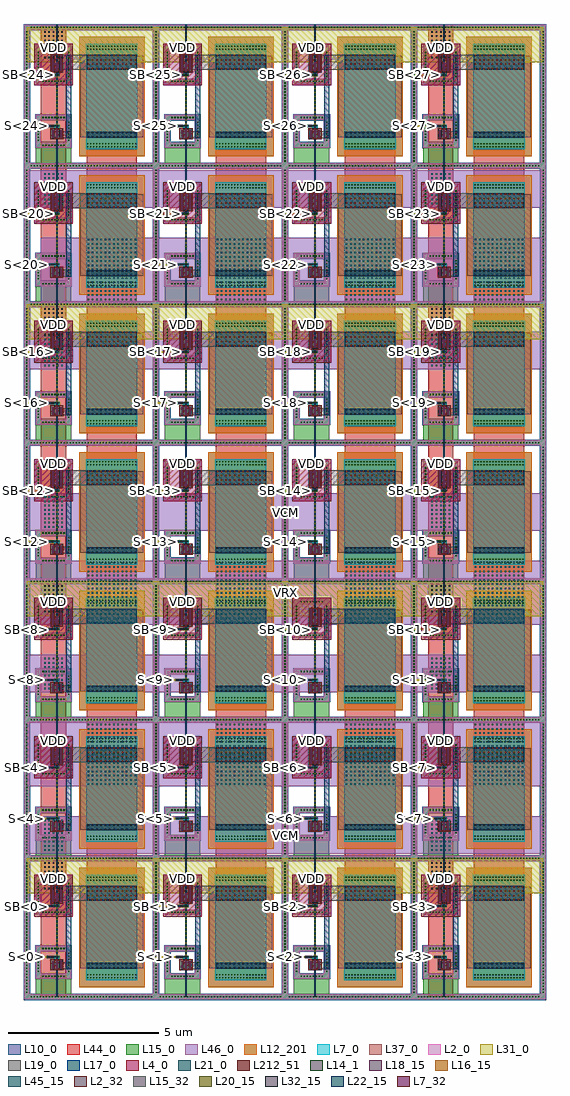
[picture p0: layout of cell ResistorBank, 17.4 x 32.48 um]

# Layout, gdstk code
import gdstk
lib = gdstk.Library(unit=1e-6, precision=1e-09)
def R(c, l, rs):  # rectangles x0, y0, x1, y1
    for r in rs: c.add(gdstk.rectangle(r[:2], r[2:], *l))
def A(c, l, x, y, w, h, nx, ny, dx, dy):  # array of equal rectangles
    R(c, l, [(x+i*dx, y+j*dy, x+i*dx+w, y+j*dy+h) for i in range(nx) for j in range(ny)])
def P(c, l, *ps):  # polygons
    for p in ps: c.add(gdstk.Polygon(p, *l))
L2_0 = (2, 0)
L2_32 = (2, 32)
L4_0 = (4, 0)
L7_0 = (7, 0)
L7_32 = (7, 32)
L10_0 = (10, 0)
L12_201 = (12, 201)
L14_1 = (14, 1)
L15_0 = (15, 0)
L15_32 = (15, 32)
L16_15 = (16, 15)
L17_0 = (17, 0)
L18_15 = (18, 15)
L19_0 = (19, 0)
L20_15 = (20, 15)
L21_0 = (21, 0)
L22_15 = (22, 15)
L31_0 = (31, 0)
L32_15 = (32, 15)
L37_0 = (37, 0)
L44_0 = (44, 0)
L45_15 = (45, 15)
L46_0 = (46, 0)
L212_51 = (212, 51)

nmosintransmissiongate = lib.new_cell('NMOSInTransmissionGate')
R(nmosintransmissiongate, L2_0, [(-0.162,-0.129,0.162,0.129)])
R(nmosintransmissiongate, L2_32, [(-0.162,-0.129,-0.086,0.129), (0.086,-0.129,0.162,0.129)])
A(nmosintransmissiongate, L7_0, -0.22, -0.186, 0.038, 0.372, 4, 1, 0.134, 0)
R(nmosintransmissiongate, L7_32, [(-0.086,-0.186,-0.048,-0.129), (0.048,-0.186,0.086,-0.129)])
A(nmosintransmissiongate, L14_1, -0.154, -0.07, 0.04, 0.04, 3, 2, 0.134, 0.1)
A(nmosintransmissiongate, L15_0, -0.159, -0.129, 0.05, 0.258, 3, 1, 0.134, 0)
A(nmosintransmissiongate, L15_32, -0.159, -0.129, 0.05, 0.258, 3, 1, 0.134, 0)
R(nmosintransmissiongate, L212_51, [(-0.201,-0.185,0.201,0.185)])

pmosintransmissiongate = lib.new_cell('PMOSInTransmissionGate')
R(pmosintransmissiongate, L2_0, [(-0.162,-0.258,0.162,0.258)])
R(pmosintransmissiongate, L2_32, [(-0.162,-0.258,-0.086,0.258), (0.086,-0.258,0.162,0.258)])
A(pmosintransmissiongate, L7_0, -0.22, -0.315, 0.038, 0.63, 4, 1, 0.134, 0)
R(pmosintransmissiongate, L7_32, [(-0.086,-0.315,-0.048,-0.258), (0.048,-0.315,0.086,-0.258)])
R(pmosintransmissiongate, L10_0, [(-0.218,-0.315,0.218,0.315)])
A(pmosintransmissiongate, L14_1, -0.154, -0.22, 0.04, 0.04, 3, 5, 0.134, 0.1)
A(pmosintransmissiongate, L15_0, -0.159, -0.258, 0.05, 0.516, 3, 1, 0.134, 0)
A(pmosintransmissiongate, L15_32, -0.159, -0.258, 0.05, 0.516, 3, 1, 0.134, 0)
R(pmosintransmissiongate, L212_51, [(-0.201,-0.314,0.201,0.314)])

viamet12met2onpmosoutput = lib.new_cell('ViaMet12Met2OnPMOSOutputInTransmissionGate')
R(viamet12met2onpmosoutput, L15_0, [(-0.025,-0.252,0.025,0.252)])
A(viamet12met2onpmosoutput, L16_15, -0.025, -0.22, 0.05, 0.05, 1, 4, 0, 0.13)
R(viamet12met2onpmosoutput, L17_0, [(-0.025,-0.252,0.025,0.252)])

viamet22met3onpmosoutput = lib.new_cell('ViaMet22Met3OnPMOSOutputInTransmissionGate')
R(viamet22met3onpmosoutput, L17_0, [(-0.025,-0.252,0.025,0.252)])
A(viamet22met3onpmosoutput, L18_15, -0.025, -0.22, 0.05, 0.05, 1, 4, 0, 0.13)
R(viamet22met3onpmosoutput, L19_0, [(-0.025,-0.252,0.025,0.252)])

viamet12met2onnmosoutput = lib.new_cell('ViaMet12Met2OnNMOSOutputInTransmissionGate')
R(viamet12met2onnmosoutput, L15_0, [(-0.025,-0.122,0.025,0.122)])
R(viamet12met2onnmosoutput, L16_15, [(-0.025,-0.09,0.025,-0.04), (-0.025,0.04,0.025,0.09)])
R(viamet12met2onnmosoutput, L17_0, [(-0.025,-0.122,0.025,0.122)])

viamet22met3onnmosoutput = lib.new_cell('ViaMet22Met3OnNMOSOutputInTransmissionGate')
R(viamet22met3onnmosoutput, L17_0, [(-0.025,-0.122,0.025,0.122)])
R(viamet22met3onnmosoutput, L18_15, [(-0.025,-0.09,0.025,-0.04), (-0.025,0.04,0.025,0.09)])
R(viamet22met3onnmosoutput, L19_0, [(-0.025,-0.122,0.025,0.122)])

viapoly2met1onpmoscontro = lib.new_cell('ViaPoly2Met1OnPMOSControlInTransmissionGate')
R(viapoly2met1onpmoscontro, L7_0, [(-0.08,-0.03,0.08,0.03)])
R(viapoly2met1onpmoscontro, L14_1, [(-0.07,-0.02,-0.03,0.02), (0.03,-0.02,0.07,0.02)])
R(viapoly2met1onpmoscontro, L15_0, [(-0.091,-0.041,0.091,0.041)])

viapoly2met1onnmoscontro = lib.new_cell('ViaPoly2Met1OnNMOSControlInTransmissionGate')
R(viapoly2met1onnmoscontro, L7_0, [(-0.08,-0.03,0.08,0.03)])
R(viapoly2met1onnmoscontro, L14_1, [(-0.07,-0.02,-0.03,0.02), (0.03,-0.02,0.07,0.02)])
R(viapoly2met1onnmoscontro, L15_0, [(-0.091,-0.041,0.091,0.041)])

transmissiongateinresist = lib.new_cell('TransmissionGateInResistorBank')
transmissiongateinresist.add(gdstk.FlexPath([(-0.067,0.379),(-0.067,0.674)], 0.038, ends="flush", simple_path=True, layer=7, datatype=0))  # L7_0
transmissiongateinresist.add(gdstk.FlexPath([(0.067,0.379),(0.067,0.674)], 0.038, ends="flush", simple_path=True, layer=7, datatype=0))  # L7_0
transmissiongateinresist.add(gdstk.FlexPath([(-0.067,2.731),(-0.067,2.306)], 0.038, ends="flush", simple_path=True, layer=7, datatype=0))  # L7_0
transmissiongateinresist.add(gdstk.FlexPath([(0.067,2.731),(0.067,2.306)], 0.038, ends="flush", simple_path=True, layer=7, datatype=0))  # L7_0
transmissiongateinresist.add(gdstk.FlexPath([(-0.067,0.644),(0.067,0.644)], 0.06, ends="flush", simple_path=True, layer=7, datatype=0))  # L7_0
transmissiongateinresist.add(gdstk.FlexPath([(-0.067,2.336),(0.067,2.336)], 0.06, ends="flush", simple_path=True, layer=7, datatype=0))  # L7_0
transmissiongateinresist.add(gdstk.Reference(nmosintransmissiongate, (0,0.379), x_reflection=True))
transmissiongateinresist.add(gdstk.Reference(pmosintransmissiongate, (0,2.731)))
transmissiongateinresist.add(gdstk.Reference(viamet12met2onpmosoutput, (0,2.699)))
transmissiongateinresist.add(gdstk.Reference(viamet12met2onpmosoutput, (-0.134,2.763)))
transmissiongateinresist.add(gdstk.Reference(viamet12met2onpmosoutput, (0.134,2.763)))
transmissiongateinresist.add(gdstk.Reference(viamet22met3onpmosoutput, (-0.134,2.763)))
transmissiongateinresist.add(gdstk.Reference(viamet22met3onpmosoutput, (0.134,2.763)))
transmissiongateinresist.add(gdstk.Reference(viamet12met2onnmosoutput, (0,0.411)))
transmissiongateinresist.add(gdstk.Reference(viamet12met2onnmosoutput, (-0.134,0.347)))
transmissiongateinresist.add(gdstk.Reference(viamet12met2onnmosoutput, (0.134,0.347)))
transmissiongateinresist.add(gdstk.Reference(viamet22met3onnmosoutput, (-0.134,0.347)))
transmissiongateinresist.add(gdstk.Reference(viamet22met3onnmosoutput, (0.134,0.347)))
transmissiongateinresist.add(gdstk.Reference(viapoly2met1onpmoscontro, (0,2.336)))
transmissiongateinresist.add(gdstk.Reference(viapoly2met1onnmoscontro, (0,0.644)))

viamet12met2oninputinres = lib.new_cell('ViaMet12Met2OnInputInResistorBank')
R(viamet12met2oninputinres, L15_0, [(-0.122,-0.025,0.122,0.025)])
R(viamet12met2oninputinres, L16_15, [(-0.09,-0.025,-0.04,0.025), (0.04,-0.025,0.09,0.025)])
R(viamet12met2oninputinres, L17_0, [(-0.122,-0.025,0.122,0.025)])

viamet22met3oninputinres = lib.new_cell('ViaMet22Met3OnInputInResistorBank')
R(viamet22met3oninputinres, L17_0, [(-0.122,-0.025,0.122,0.025)])
R(viamet22met3oninputinres, L18_15, [(-0.09,-0.025,-0.04,0.025), (0.04,-0.025,0.09,0.025)])
R(viamet22met3oninputinres, L19_0, [(-0.122,-0.025,0.122,0.025)])

viamet32met4oninputinres = lib.new_cell('ViaMet32Met4OnInputInResistorBank')
R(viamet32met4oninputinres, L19_0, [(-0.122,-0.025,0.122,0.025)])
R(viamet32met4oninputinres, L20_15, [(-0.09,-0.025,-0.04,0.025), (0.04,-0.025,0.09,0.025)])
R(viamet32met4oninputinres, L21_0, [(-0.122,-0.025,0.122,0.025)])

viamet42met5oninputinres = lib.new_cell('ViaMet42Met5OnInputInResistorBank')
R(viamet42met5oninputinres, L21_0, [(-0.122,-0.025,0.122,0.025)])
R(viamet42met5oninputinres, L22_15, [(-0.09,-0.025,-0.04,0.025), (0.04,-0.025,0.09,0.025)])
R(viamet42met5oninputinres, L31_0, [(-0.122,-0.025,0.122,0.025)])

opppcresinresistorbank = lib.new_cell('OpppcresInResistorBank')
R(opppcresinresistorbank, L7_0, [(-0.851,-1.75,0.851,1.75)])
R(opppcresinresistorbank, L10_0, [(-1.091,-1.99,1.091,1.99)])
R(opppcresinresistorbank, L12_201, [(-1.091,-1.99,1.091,1.99)])
A(opppcresinresistorbank, L14_1, -0.82, -1.69, 0.04, 0.04, 17, 2, 0.1, 0.1)
A(opppcresinresistorbank, L14_1, -0.82, 1.55, 0.04, 0.04, 17, 2, 0.1, 0.1)
R(opppcresinresistorbank, L15_0, [(-0.832,-1.702,0.832,-1.538), (-0.832,1.538,0.832,1.702)])
R(opppcresinresistorbank, L37_0, [(-1.051,-1.35,1.051,1.35)])

pmossubringinresistorban = lib.new_cell('PMOSSubringInResistorBank')
R(pmossubringinresistorban, L2_0, [(-0.59,-0.642,0.59,-0.472), (-0.59,-0.642,-0.42,0.642), (0.42,-0.642,0.59,0.642), (-0.59,0.472,0.59,0.642)])
A(pmossubringinresistorban, L14_1, -0.37, -0.577, 0.04, 0.04, 8, 2, 0.1, 1.114)
A(pmossubringinresistorban, L14_1, -0.525, -0.42, 0.04, 0.04, 1, 9, 0, 0.1)
A(pmossubringinresistorban, L14_1, 0.485, -0.42, 0.04, 0.04, 1, 9, 0, 0.1)
R(pmossubringinresistorban, L15_0, [(-0.59,-0.642,0.59,-0.472), (-0.59,-0.642,-0.42,0.642), (0.42,-0.642,0.59,0.642), (-0.59,0.472,0.59,0.642)])
pmossubringinresistorban.add(gdstk.FlexPath([(0.505,0.698),(0.505,-0.557),(-0.505,-0.557),(-0.505,0.557),(0.646,0.557)], 0.282, ends="flush", simple_path=True, layer=4, datatype=0))  # L4_0

nmossubringinresistorban = lib.new_cell('NMOSSubringInResistorBank')
R(nmossubringinresistorban, L2_0, [(-0.59,-0.546,0.59,-0.376), (-0.59,-0.546,-0.42,0.546), (0.42,-0.546,0.59,0.546), (-0.59,0.376,0.59,0.546)])
A(nmossubringinresistorban, L14_1, -0.37, -0.481, 0.04, 0.04, 8, 2, 0.1, 0.922)
A(nmossubringinresistorban, L14_1, -0.525, -0.32, 0.04, 0.04, 1, 7, 0, 0.1)
A(nmossubringinresistorban, L14_1, 0.485, -0.32, 0.04, 0.04, 1, 7, 0, 0.1)
R(nmossubringinresistorban, L15_0, [(-0.59,-0.546,0.59,-0.376), (-0.59,-0.546,-0.42,0.546), (0.42,-0.546,0.59,0.546), (-0.59,0.376,0.59,0.546)])
nmossubringinresistorban.add(gdstk.FlexPath([(0.505,0.567),(0.505,-0.461),(-0.505,-0.461),(-0.505,0.461),(0.611,0.461)], 0.212, ends="flush", simple_path=True, layer=10, datatype=0))  # L10_0

totalsubringinresistorba = lib.new_cell('TotalSubringInResistorBank')
R(totalsubringinresistorba, L2_0, [(-2.233,-2.39,2.233,-2.22), (-2.233,-2.39,-2.063,2.39), (2.063,-2.39,2.233,2.39), (-2.233,2.22,2.233,2.39)])
A(totalsubringinresistorba, L14_1, -2.02, -2.325, 0.04, 0.04, 41, 2, 0.1, 4.61)
A(totalsubringinresistorba, L14_1, -2.168, -2.17, 0.04, 0.04, 1, 44, 0, 0.1)
A(totalsubringinresistorba, L14_1, 2.128, -2.17, 0.04, 0.04, 1, 44, 0, 0.1)
R(totalsubringinresistorba, L15_0, [(-2.233,-2.39,2.233,-2.22), (-2.233,-2.39,-2.063,2.39), (2.063,-2.39,2.233,2.39), (-2.233,2.22,2.233,2.39)])
totalsubringinresistorba.add(gdstk.FlexPath([(2.148,2.411),(2.148,-2.305),(-2.148,-2.305),(-2.148,2.305),(2.254,2.305)], 0.212, ends="flush", simple_path=True, layer=10, datatype=0))  # L10_0

viamet12met2onresistorin = lib.new_cell('ViaMet12Met2OnResistorInResistorBank')
R(viamet12met2onresistorin, L15_0, [(-0.838,-0.238,0.838,0.238)])
A(viamet12met2onresistorin, L16_15, -0.806, -0.238, 0.05, 0.05, 12, 4, 0.142, 0.142)
R(viamet12met2onresistorin, L17_0, [(-0.838,-0.238,0.838,0.238)])

viamet12met2onresistor1i = lib.new_cell('ViaMet12Met2OnResistor1InResistorBank')
R(viamet12met2onresistor1i, L15_0, [(-0.838,-0.096,0.838,0.096)])
A(viamet12met2onresistor1i, L16_15, -0.806, -0.096, 0.05, 0.05, 12, 2, 0.142, 0.142)
R(viamet12met2onresistor1i, L17_0, [(-0.838,-0.096,0.838,0.096)])

viamet22met3onresistorin = lib.new_cell('ViaMet22Met3OnResistorInResistorBank')
R(viamet22met3onresistorin, L17_0, [(-0.838,-0.238,0.838,0.238)])
A(viamet22met3onresistorin, L18_15, -0.806, -0.238, 0.05, 0.05, 12, 4, 0.142, 0.142)
R(viamet22met3onresistorin, L19_0, [(-0.838,-0.238,0.838,0.238)])

viamet22met3onresistor1i = lib.new_cell('ViaMet22Met3OnResistor1InResistorBank')
R(viamet22met3onresistor1i, L17_0, [(-0.838,-0.096,0.838,0.096)])
A(viamet22met3onresistor1i, L18_15, -0.806, -0.096, 0.05, 0.05, 12, 2, 0.142, 0.142)
R(viamet22met3onresistor1i, L19_0, [(-0.838,-0.096,0.838,0.096)])

viamet32met4onresistorin = lib.new_cell('ViaMet32Met4OnResistorInResistorBank')
R(viamet32met4onresistorin, L19_0, [(-0.838,-0.096,0.838,0.096)])
A(viamet32met4onresistorin, L20_15, -0.806, -0.096, 0.05, 0.05, 12, 2, 0.142, 0.142)
R(viamet32met4onresistorin, L21_0, [(-0.838,-0.096,0.838,0.096)])

viamet42met5onresistorin = lib.new_cell('ViaMet42Met5OnResistorInResistorBank')
R(viamet42met5onresistorin, L21_0, [(-0.838,-0.096,0.838,0.096)])
A(viamet42met5onresistorin, L22_15, -0.806, -0.096, 0.05, 0.05, 12, 2, 0.142, 0.142)
R(viamet42met5onresistorin, L31_0, [(-0.838,-0.096,0.838,0.096)])

viamet52met6onresistorin = lib.new_cell('ViaMet52Met6OnResistorInResistorBank')
R(viamet52met6onresistorin, L31_0, [(-0.838,-0.096,0.838,0.096)])
A(viamet52met6onresistorin, L32_15, -0.806, -0.096, 0.05, 0.05, 12, 2, 0.142, 0.142)
R(viamet52met6onresistorin, L44_0, [(-0.838,-0.096,0.838,0.096)])

viavcmmet22met3inresisto = lib.new_cell('ViaVCMMet22Met3InResistorBank')
R(viavcmmet22met3inresisto, L17_0, [(-0.025,-0.837,0.025,0.837)])
A(viavcmmet22met3inresisto, L18_15, -0.025, -0.805, 0.05, 0.05, 1, 13, 0, 0.13)
R(viavcmmet22met3inresisto, L19_0, [(-0.025,-0.837,0.025,0.837)])

viavcmmet32met4inresisto = lib.new_cell('ViaVCMMet32Met4InResistorBank')
R(viavcmmet32met4inresisto, L19_0, [(-0.025,-0.837,0.025,0.837)])
A(viavcmmet32met4inresisto, L20_15, -0.025, -0.805, 0.05, 0.05, 1, 13, 0, 0.13)
R(viavcmmet32met4inresisto, L21_0, [(-0.025,-0.837,0.025,0.837)])

viatgpmos2resmet22met3in = lib.new_cell('ViaTGPMOS2ResMet22Met3InResistorBank')
R(viatgpmos2resmet22met3in, L17_0, [(-0.057,-0.22,0.057,0.22)])
A(viatgpmos2resmet22met3in, L18_15, -0.025, -0.22, 0.05, 0.05, 1, 4, 0, 0.13)
R(viatgpmos2resmet22met3in, L19_0, [(-0.057,-0.22,0.057,0.22)])

viatgnmos2resmet22met3in = lib.new_cell('ViaTGNMOS2ResMet22Met3InResistorBank')
R(viatgnmos2resmet22met3in, L17_0, [(-0.057,-0.09,0.057,0.09)])
R(viatgnmos2resmet22met3in, L18_15, [(-0.025,-0.09,0.025,-0.04), (-0.025,0.04,0.025,0.09)])
R(viatgnmos2resmet22met3in, L19_0, [(-0.057,-0.09,0.057,0.09)])

resistorbankinfullresist = lib.new_cell('ResistorBankInFullResistorBank')
R(resistorbankinfullresist, L15_0, [(-0.703,-0.77,0.477,0.084)])
R(resistorbankinfullresist, L17_0, [(-0.025,0.289,0.025,2.951)])
P(resistorbankinfullresist, L21_0, [(0,0.653),(0,0.653),(0,2.327),(0,2.327)])
resistorbankinfullresist.add(gdstk.FlexPath([(-0.213,2.336),(-1,2.336)], 0.05, ends="flush", simple_path=True, layer=31, datatype=0))  # L31_0
resistorbankinfullresist.add(gdstk.FlexPath([(-0.213,0.644),(-1,0.644)], 0.05, ends="flush", simple_path=True, layer=31, datatype=0))  # L31_0
resistorbankinfullresist.add(gdstk.FlexPath([(-0.533,2.683),(0.307,2.683)], 0.943, ends="flush", simple_path=True, layer=4, datatype=0))  # L4_0
resistorbankinfullresist.add(gdstk.FlexPath([(-0.218,0.379),(0.218,0.379)], 0.37, ends="flush", simple_path=True, layer=212, datatype=51))  # L212_51
resistorbankinfullresist.add(gdstk.FlexPath([(-0.335,2.336),(0,2.336)], 0.082, ends="flush", simple_path=True, layer=15, datatype=0))  # L15_0
resistorbankinfullresist.add(gdstk.FlexPath([(-0.335,0.644),(0,0.644)], 0.082, ends="flush", simple_path=True, layer=15, datatype=0))  # L15_0
resistorbankinfullresist.add(gdstk.FlexPath([(1.828,2.525),(1.828,3.322)], 1.676, ends="flush", simple_path=True, layer=15, datatype=0))  # L15_0
resistorbankinfullresist.add(gdstk.FlexPath([(1.828,0.443),(1.828,-0.082)], 1.676, ends="flush", simple_path=True, layer=15, datatype=0))  # L15_0
resistorbankinfullresist.add(gdstk.FlexPath([(-0.134,2.763),(2.666,2.763)], 0.504, ends="flush", simple_path=True, layer=19, datatype=0))  # L19_0
resistorbankinfullresist.add(gdstk.FlexPath([(-0.134,0.347),(0.477,0.347)], 0.244, ends="flush", simple_path=True, layer=19, datatype=0))  # L19_0
resistorbankinfullresist.add(gdstk.FlexPath([(0.392,3.015),(0.392,0.225)], 0.17, ends="flush", simple_path=True, layer=17, datatype=0))  # L17_0
resistorbankinfullresist.add(gdstk.Reference(transmissiongateinresist, (0,0)))
resistorbankinfullresist.add(gdstk.Reference(viamet12met2oninputinres, (-0.213,2.336)))
resistorbankinfullresist.add(gdstk.Reference(viamet12met2oninputinres, (-0.213,0.644)))
resistorbankinfullresist.add(gdstk.Reference(viamet22met3oninputinres, (-0.213,2.336)))
resistorbankinfullresist.add(gdstk.Reference(viamet22met3oninputinres, (-0.213,0.644)))
resistorbankinfullresist.add(gdstk.Reference(viamet32met4oninputinres, (-0.213,2.336)))
resistorbankinfullresist.add(gdstk.Reference(viamet32met4oninputinres, (-0.213,0.644)))
resistorbankinfullresist.add(gdstk.Reference(viamet42met5oninputinres, (-0.213,2.336)))
resistorbankinfullresist.add(gdstk.Reference(viamet42met5oninputinres, (-0.213,0.644)))
resistorbankinfullresist.add(gdstk.Reference(opppcresinresistorbank, (1.828,1.62)))
resistorbankinfullresist.add(gdstk.Reference(pmossubringinresistorban, (-0.113,2.683)))
resistorbankinfullresist.add(gdstk.Reference(nmossubringinresistorban, (-0.113,0.461)))
resistorbankinfullresist.add(gdstk.Reference(totalsubringinresistorba, (1.148,1.62)))
resistorbankinfullresist.add(gdstk.Reference(viamet12met2onresistorin, (1.828,2.763)))
resistorbankinfullresist.add(gdstk.Reference(viamet12met2onresistor1i, (1.828,0.347)))
resistorbankinfullresist.add(gdstk.Reference(viamet22met3onresistorin, (1.828,2.763)))
resistorbankinfullresist.add(gdstk.Reference(viamet22met3onresistor1i, (1.828,0.347)))
resistorbankinfullresist.add(gdstk.Reference(viamet32met4onresistorin, (1.828,0.347)))
resistorbankinfullresist.add(gdstk.Reference(viamet42met5onresistorin, (1.828,0.347)))
resistorbankinfullresist.add(gdstk.Reference(viamet52met6onresistorin, (1.828,0.347)))
resistorbankinfullresist.add(gdstk.Reference(viavcmmet22met3inresisto, (0,1.49)))
resistorbankinfullresist.add(gdstk.Reference(viavcmmet32met4inresisto, (0,1.49)))
resistorbankinfullresist.add(gdstk.Reference(viatgpmos2resmet22met3in, (0.392,2.763)))
resistorbankinfullresist.add(gdstk.Reference(viatgnmos2resmet22met3in, (0.392,0.347)))
resistorbankinfullresist.add(gdstk.Label('VDD', (-0.113,3.24), layer=15, texttype=20))
resistorbankinfullresist.add(gdstk.Label('VSS', (-0.113,-0.343), layer=15, texttype=20))
resistorbankinfullresist.add(gdstk.Label('S', (-1,0.644), layer=31, texttype=20))
resistorbankinfullresist.add(gdstk.Label('SB', (-1,2.336), layer=31, texttype=20))
resistorbankinfullresist.add(gdstk.Label('VRX', (1.828,0.347), layer=44, texttype=20))
resistorbankinfullresist.add(gdstk.Label('VCM', (0,1.49), layer=21, texttype=20))

viamet42met5onvcminfullr = lib.new_cell('ViaMet42Met5OnVCMInFullResistorBank')
R(viamet42met5onvcminfullr, L21_0, [(-0.025,-0.577,0.025,0.577)])
A(viamet42met5onvcminfullr, L22_15, -0.025, -0.545, 0.05, 0.05, 1, 9, 0, 0.13)
R(viamet42met5onvcminfullr, L31_0, [(-0.025,-0.577,0.025,0.577)])

viamet52met6onvcminfullr = lib.new_cell('ViaMet52Met6OnVCMInFullResistorBank')
R(viamet52met6onvcminfullr, L31_0, [(-0.309,-0.483,0.309,0.483)])
A(viamet52met6onvcminfullr, L32_15, -0.309, -0.451, 0.05, 0.05, 5, 7, 0.142, 0.142)
R(viamet52met6onvcminfullr, L44_0, [(-0.309,-0.483,0.309,0.483)])

viamet62met7onvrxinfullr = lib.new_cell('ViaMet62Met7OnVRXInFullResistorBank')
R(viamet62met7onvrxinfullr, L44_0, [(-0.806,-1.051,0.806,1.051)])
A(viamet62met7onvrxinfullr, L45_15, -0.806, -1.019, 0.05, 0.05, 12, 15, 0.142, 0.142)
R(viamet62met7onvrxinfullr, L46_0, [(-0.806,-1.051,0.806,1.051)])

viamet62met7onvcminfullr = lib.new_cell('ViaMet62Met7OnVCMInFullResistorBank')
R(viamet62met7onvcminfullr, L44_0, [(-0.341,-0.522,0.341,0.522)])
A(viamet62met7onvcminfullr, L45_15, -0.309, -0.522, 0.05, 0.05, 5, 8, 0.142, 0.142)
R(viamet62met7onvcminfullr, L46_0, [(-0.341,-0.522,0.341,0.522)])

resistorbank = lib.new_cell('ResistorBank')
resistorbank.add(gdstk.FlexPath([(0,-0.684),(0,31.67)], 0.05, ends="flush", simple_path=True, layer=21, datatype=0))  # L21_0
resistorbank.add(gdstk.FlexPath([(4.296,-0.684),(4.296,31.67)], 0.05, ends="flush", simple_path=True, layer=21, datatype=0))  # L21_0
resistorbank.add(gdstk.FlexPath([(8.592,-0.684),(8.592,31.67)], 0.05, ends="flush", simple_path=True, layer=21, datatype=0))  # L21_0
resistorbank.add(gdstk.FlexPath([(12.888,-0.684),(12.888,31.67)], 0.05, ends="flush", simple_path=True, layer=21, datatype=0))  # L21_0
resistorbank.add(gdstk.FlexPath([(-1,3.344),(16.184,3.344)], 1.162, ends="flush", simple_path=True, layer=31, datatype=0))  # L31_0
resistorbank.add(gdstk.FlexPath([(-1,12.564),(16.184,12.564)], 1.162, ends="flush", simple_path=True, layer=31, datatype=0))  # L31_0
resistorbank.add(gdstk.FlexPath([(-1,21.784),(16.184,21.784)], 1.162, ends="flush", simple_path=True, layer=31, datatype=0))  # L31_0
resistorbank.add(gdstk.FlexPath([(-1,31.004),(16.184,31.004)], 1.162, ends="flush", simple_path=True, layer=31, datatype=0))  # L31_0
resistorbank.add(gdstk.FlexPath([(-0.112,-0.684),(-0.112,31.67)], 0.84, ends="flush", simple_path=True, layer=44, datatype=0))  # L44_0
resistorbank.add(gdstk.FlexPath([(12.776,-0.684),(12.776,31.67)], 0.84, ends="flush", simple_path=True, layer=44, datatype=0))  # L44_0
resistorbank.add(gdstk.FlexPath([(1.828,0.347),(1.828,28.007)], 1.676, ends="flush", simple_path=True, layer=44, datatype=0))  # L44_0
resistorbank.add(gdstk.FlexPath([(6.124,0.347),(6.124,28.007)], 1.676, ends="flush", simple_path=True, layer=44, datatype=0))  # L44_0
resistorbank.add(gdstk.FlexPath([(10.42,0.347),(10.42,28.007)], 1.676, ends="flush", simple_path=True, layer=44, datatype=0))  # L44_0
resistorbank.add(gdstk.FlexPath([(14.716,0.347),(14.716,28.007)], 1.676, ends="flush", simple_path=True, layer=44, datatype=0))  # L44_0
resistorbank.add(gdstk.FlexPath([(-1,4.694),(16.184,4.694)], 1.25, ends="flush", simple_path=True, layer=46, datatype=0))  # L46_0
resistorbank.add(gdstk.FlexPath([(-1,10.072),(16.184,10.072)], 1.25, ends="flush", simple_path=True, layer=46, datatype=0))  # L46_0
resistorbank.add(gdstk.FlexPath([(-1,15.45),(16.184,15.45)], 1.25, ends="flush", simple_path=True, layer=46, datatype=0))  # L46_0
resistorbank.add(gdstk.FlexPath([(-1,20.828),(16.184,20.828)], 1.25, ends="flush", simple_path=True, layer=46, datatype=0))  # L46_0
resistorbank.add(gdstk.FlexPath([(-1,26.206),(16.184,26.206)], 1.25, ends="flush", simple_path=True, layer=46, datatype=0))  # L46_0
resistorbank.add(gdstk.FlexPath([(-1,7.384),(16.184,7.384)], 2.128, ends="flush", simple_path=True, layer=46, datatype=0))  # L46_0
resistorbank.add(gdstk.FlexPath([(-1,12.762),(16.184,12.762)], 2.128, ends="flush", simple_path=True, layer=46, datatype=0))  # L46_0
resistorbank.add(gdstk.FlexPath([(-0.532,23.518),(16.184,23.518)], 2.128, ends="flush", simple_path=True, layer=46, datatype=0))  # L46_0
resistorbank.add(gdstk.Reference(resistorbankinfullresist, (0,0)))
resistorbank.add(gdstk.Reference(resistorbankinfullresist, (0,4.61)))
resistorbank.add(gdstk.Reference(resistorbankinfullresist, (0,9.22)))
resistorbank.add(gdstk.Reference(resistorbankinfullresist, (0,13.83)))
resistorbank.add(gdstk.Reference(resistorbankinfullresist, (0,18.44)))
resistorbank.add(gdstk.Reference(resistorbankinfullresist, (0,23.05)))
resistorbank.add(gdstk.Reference(resistorbankinfullresist, (0,27.66)))
resistorbank.add(gdstk.Reference(resistorbankinfullresist, (4.296,0)))
resistorbank.add(gdstk.Reference(resistorbankinfullresist, (4.296,4.61)))
resistorbank.add(gdstk.Reference(resistorbankinfullresist, (4.296,9.22)))
resistorbank.add(gdstk.Reference(resistorbankinfullresist, (4.296,13.83)))
resistorbank.add(gdstk.Reference(resistorbankinfullresist, (4.296,18.44)))
resistorbank.add(gdstk.Reference(resistorbankinfullresist, (4.296,23.05)))
resistorbank.add(gdstk.Reference(resistorbankinfullresist, (4.296,27.66)))
resistorbank.add(gdstk.Reference(resistorbankinfullresist, (8.592,0)))
resistorbank.add(gdstk.Reference(resistorbankinfullresist, (8.592,4.61)))
resistorbank.add(gdstk.Reference(resistorbankinfullresist, (8.592,9.22)))
resistorbank.add(gdstk.Reference(resistorbankinfullresist, (8.592,13.83)))
resistorbank.add(gdstk.Reference(resistorbankinfullresist, (8.592,18.44)))
resistorbank.add(gdstk.Reference(resistorbankinfullresist, (8.592,23.05)))
resistorbank.add(gdstk.Reference(resistorbankinfullresist, (8.592,27.66)))
resistorbank.add(gdstk.Reference(resistorbankinfullresist, (12.888,0)))
resistorbank.add(gdstk.Reference(resistorbankinfullresist, (12.888,4.61)))
resistorbank.add(gdstk.Reference(resistorbankinfullresist, (12.888,9.22)))
resistorbank.add(gdstk.Reference(resistorbankinfullresist, (12.888,13.83)))
resistorbank.add(gdstk.Reference(resistorbankinfullresist, (12.888,18.44)))
resistorbank.add(gdstk.Reference(resistorbankinfullresist, (12.888,23.05)))
resistorbank.add(gdstk.Reference(resistorbankinfullresist, (12.888,27.66)))
resistorbank.add(gdstk.Reference(viamet42met5onvcminfullr, (0,3.344)))
resistorbank.add(gdstk.Reference(viamet42met5onvcminfullr, (0,12.564)))
resistorbank.add(gdstk.Reference(viamet42met5onvcminfullr, (0,21.784)))
resistorbank.add(gdstk.Reference(viamet42met5onvcminfullr, (0,31.004)))
resistorbank.add(gdstk.Reference(viamet42met5onvcminfullr, (4.296,3.344)))
resistorbank.add(gdstk.Reference(viamet42met5onvcminfullr, (4.296,12.564)))
resistorbank.add(gdstk.Reference(viamet42met5onvcminfullr, (4.296,21.784)))
resistorbank.add(gdstk.Reference(viamet42met5onvcminfullr, (4.296,31.004)))
resistorbank.add(gdstk.Reference(viamet42met5onvcminfullr, (8.592,3.344)))
resistorbank.add(gdstk.Reference(viamet42met5onvcminfullr, (8.592,12.564)))
resistorbank.add(gdstk.Reference(viamet42met5onvcminfullr, (8.592,21.784)))
resistorbank.add(gdstk.Reference(viamet42met5onvcminfullr, (8.592,31.004)))
resistorbank.add(gdstk.Reference(viamet42met5onvcminfullr, (12.888,3.344)))
resistorbank.add(gdstk.Reference(viamet42met5onvcminfullr, (12.888,12.564)))
resistorbank.add(gdstk.Reference(viamet42met5onvcminfullr, (12.888,21.784)))
resistorbank.add(gdstk.Reference(viamet42met5onvcminfullr, (12.888,31.004)))
resistorbank.add(gdstk.Reference(viamet52met6onvcminfullr, (-0.112,3.344)))
resistorbank.add(gdstk.Reference(viamet52met6onvcminfullr, (-0.112,12.564)))
resistorbank.add(gdstk.Reference(viamet52met6onvcminfullr, (-0.112,21.784)))
resistorbank.add(gdstk.Reference(viamet52met6onvcminfullr, (-0.112,31.004)))
resistorbank.add(gdstk.Reference(viamet52met6onvcminfullr, (12.776,3.344)))
resistorbank.add(gdstk.Reference(viamet52met6onvcminfullr, (12.776,12.564)))
resistorbank.add(gdstk.Reference(viamet52met6onvcminfullr, (12.776,21.784)))
resistorbank.add(gdstk.Reference(viamet52met6onvcminfullr, (12.776,31.004)))
resistorbank.add(gdstk.Reference(viamet62met7onvrxinfullr, (1.828,7.384)))
resistorbank.add(gdstk.Reference(viamet62met7onvrxinfullr, (1.828,12.762)))
resistorbank.add(gdstk.Reference(viamet62met7onvrxinfullr, (1.828,23.518)))
resistorbank.add(gdstk.Reference(viamet62met7onvrxinfullr, (6.124,7.384)))
resistorbank.add(gdstk.Reference(viamet62met7onvrxinfullr, (6.124,12.762)))
resistorbank.add(gdstk.Reference(viamet62met7onvrxinfullr, (6.124,23.518)))
resistorbank.add(gdstk.Reference(viamet62met7onvrxinfullr, (10.42,7.384)))
resistorbank.add(gdstk.Reference(viamet62met7onvrxinfullr, (10.42,12.762)))
resistorbank.add(gdstk.Reference(viamet62met7onvrxinfullr, (10.42,23.518)))
resistorbank.add(gdstk.Reference(viamet62met7onvrxinfullr, (14.716,7.384)))
resistorbank.add(gdstk.Reference(viamet62met7onvrxinfullr, (14.716,12.762)))
resistorbank.add(gdstk.Reference(viamet62met7onvrxinfullr, (14.716,23.518)))
resistorbank.add(gdstk.Reference(viamet62met7onvcminfullr, (-0.112,4.694)))
resistorbank.add(gdstk.Reference(viamet62met7onvcminfullr, (-0.112,10.072)))
resistorbank.add(gdstk.Reference(viamet62met7onvcminfullr, (-0.112,15.45)))
resistorbank.add(gdstk.Reference(viamet62met7onvcminfullr, (-0.112,20.828)))
resistorbank.add(gdstk.Reference(viamet62met7onvcminfullr, (-0.112,26.206)))
resistorbank.add(gdstk.Reference(viamet62met7onvcminfullr, (12.776,4.694)))
resistorbank.add(gdstk.Reference(viamet62met7onvcminfullr, (12.776,10.072)))
resistorbank.add(gdstk.Reference(viamet62met7onvcminfullr, (12.776,15.45)))
resistorbank.add(gdstk.Reference(viamet62met7onvcminfullr, (12.776,20.828)))
resistorbank.add(gdstk.Reference(viamet62met7onvcminfullr, (12.776,26.206)))
resistorbank.add(gdstk.Label('S<0>', (-1,0.644), layer=31, texttype=20))
resistorbank.add(gdstk.Label('SB<0>', (-1,2.336), layer=31, texttype=20))
resistorbank.add(gdstk.Label('S<4>', (-1,5.254), layer=31, texttype=20))
resistorbank.add(gdstk.Label('SB<4>', (-1,6.946), layer=31, texttype=20))
resistorbank.add(gdstk.Label('S<8>', (-1,9.864), layer=31, texttype=20))
resistorbank.add(gdstk.Label('SB<8>', (-1,11.556), layer=31, texttype=20))
resistorbank.add(gdstk.Label('S<12>', (-1,14.474), layer=31, texttype=20))
resistorbank.add(gdstk.Label('SB<12>', (-1,16.166), layer=31, texttype=20))
resistorbank.add(gdstk.Label('S<16>', (-1,19.084), layer=31, texttype=20))
resistorbank.add(gdstk.Label('SB<16>', (-1,20.776), layer=31, texttype=20))
resistorbank.add(gdstk.Label('S<20>', (-1,23.694), layer=31, texttype=20))
resistorbank.add(gdstk.Label('SB<20>', (-1,25.386), layer=31, texttype=20))
resistorbank.add(gdstk.Label('S<24>', (-1,28.304), layer=31, texttype=20))
resistorbank.add(gdstk.Label('SB<24>', (-1,29.996), layer=31, texttype=20))
resistorbank.add(gdstk.Label('S<1>', (3.296,0.644), layer=31, texttype=20))
resistorbank.add(gdstk.Label('SB<1>', (3.296,2.336), layer=31, texttype=20))
resistorbank.add(gdstk.Label('S<5>', (3.296,5.254), layer=31, texttype=20))
resistorbank.add(gdstk.Label('SB<5>', (3.296,6.946), layer=31, texttype=20))
resistorbank.add(gdstk.Label('S<9>', (3.296,9.864), layer=31, texttype=20))
resistorbank.add(gdstk.Label('SB<9>', (3.296,11.556), layer=31, texttype=20))
resistorbank.add(gdstk.Label('S<13>', (3.296,14.474), layer=31, texttype=20))
resistorbank.add(gdstk.Label('SB<13>', (3.296,16.166), layer=31, texttype=20))
resistorbank.add(gdstk.Label('S<17>', (3.296,19.084), layer=31, texttype=20))
resistorbank.add(gdstk.Label('SB<17>', (3.296,20.776), layer=31, texttype=20))
resistorbank.add(gdstk.Label('S<21>', (3.296,23.694), layer=31, texttype=20))
resistorbank.add(gdstk.Label('SB<21>', (3.296,25.386), layer=31, texttype=20))
resistorbank.add(gdstk.Label('S<25>', (3.296,28.304), layer=31, texttype=20))
resistorbank.add(gdstk.Label('SB<25>', (3.296,29.996), layer=31, texttype=20))
resistorbank.add(gdstk.Label('S<2>', (7.592,0.644), layer=31, texttype=20))
resistorbank.add(gdstk.Label('SB<2>', (7.592,2.336), layer=31, texttype=20))
resistorbank.add(gdstk.Label('S<6>', (7.592,5.254), layer=31, texttype=20))
resistorbank.add(gdstk.Label('SB<6>', (7.592,6.946), layer=31, texttype=20))
resistorbank.add(gdstk.Label('S<10>', (7.592,9.864), layer=31, texttype=20))
resistorbank.add(gdstk.Label('SB<10>', (7.592,11.556), layer=31, texttype=20))
resistorbank.add(gdstk.Label('S<14>', (7.592,14.474), layer=31, texttype=20))
resistorbank.add(gdstk.Label('SB<14>', (7.592,16.166), layer=31, texttype=20))
resistorbank.add(gdstk.Label('S<18>', (7.592,19.084), layer=31, texttype=20))
resistorbank.add(gdstk.Label('SB<18>', (7.592,20.776), layer=31, texttype=20))
resistorbank.add(gdstk.Label('S<22>', (7.592,23.694), layer=31, texttype=20))
resistorbank.add(gdstk.Label('SB<22>', (7.592,25.386), layer=31, texttype=20))
resistorbank.add(gdstk.Label('S<26>', (7.592,28.304), layer=31, texttype=20))
resistorbank.add(gdstk.Label('SB<26>', (7.592,29.996), layer=31, texttype=20))
resistorbank.add(gdstk.Label('S<3>', (11.888,0.644), layer=31, texttype=20))
resistorbank.add(gdstk.Label('SB<3>', (11.888,2.336), layer=31, texttype=20))
resistorbank.add(gdstk.Label('S<7>', (11.888,5.254), layer=31, texttype=20))
resistorbank.add(gdstk.Label('SB<7>', (11.888,6.946), layer=31, texttype=20))
resistorbank.add(gdstk.Label('S<11>', (11.888,9.864), layer=31, texttype=20))
resistorbank.add(gdstk.Label('SB<11>', (11.888,11.556), layer=31, texttype=20))
resistorbank.add(gdstk.Label('S<15>', (11.888,14.474), layer=31, texttype=20))
resistorbank.add(gdstk.Label('SB<15>', (11.888,16.166), layer=31, texttype=20))
resistorbank.add(gdstk.Label('S<19>', (11.888,19.084), layer=31, texttype=20))
resistorbank.add(gdstk.Label('SB<19>', (11.888,20.776), layer=31, texttype=20))
resistorbank.add(gdstk.Label('S<23>', (11.888,23.694), layer=31, texttype=20))
resistorbank.add(gdstk.Label('SB<23>', (11.888,25.386), layer=31, texttype=20))
resistorbank.add(gdstk.Label('S<27>', (11.888,28.304), layer=31, texttype=20))
resistorbank.add(gdstk.Label('SB<27>', (11.888,29.996), layer=31, texttype=20))
resistorbank.add(gdstk.Label('VRX', (7.592,7.384), layer=46, texttype=20))
resistorbank.add(gdstk.Label('VRX', (7.592,12.762), layer=46, texttype=20))
resistorbank.add(gdstk.Label('VRX', (7.826,23.518), layer=46, texttype=20))
resistorbank.add(gdstk.Label('VDD', (-0.113,3.24), layer=15, texttype=20))
resistorbank.add(gdstk.Label('VDD', (-0.113,7.85), layer=15, texttype=20))
resistorbank.add(gdstk.Label('VDD', (-0.113,12.46), layer=15, texttype=20))
resistorbank.add(gdstk.Label('VDD', (-0.113,17.07), layer=15, texttype=20))
resistorbank.add(gdstk.Label('VDD', (-0.113,21.68), layer=15, texttype=20))
resistorbank.add(gdstk.Label('VDD', (-0.113,26.29), layer=15, texttype=20))
resistorbank.add(gdstk.Label('VDD', (-0.113,30.9), layer=15, texttype=20))
resistorbank.add(gdstk.Label('VDD', (4.183,3.24), layer=15, texttype=20))
resistorbank.add(gdstk.Label('VDD', (4.183,7.85), layer=15, texttype=20))
resistorbank.add(gdstk.Label('VDD', (4.183,12.46), layer=15, texttype=20))
resistorbank.add(gdstk.Label('VDD', (4.183,17.07), layer=15, texttype=20))
resistorbank.add(gdstk.Label('VDD', (4.183,21.68), layer=15, texttype=20))
resistorbank.add(gdstk.Label('VDD', (4.183,26.29), layer=15, texttype=20))
resistorbank.add(gdstk.Label('VDD', (4.183,30.9), layer=15, texttype=20))
resistorbank.add(gdstk.Label('VDD', (8.479,3.24), layer=15, texttype=20))
resistorbank.add(gdstk.Label('VDD', (8.479,7.85), layer=15, texttype=20))
resistorbank.add(gdstk.Label('VDD', (8.479,12.46), layer=15, texttype=20))
resistorbank.add(gdstk.Label('VDD', (8.479,17.07), layer=15, texttype=20))
resistorbank.add(gdstk.Label('VDD', (8.479,21.68), layer=15, texttype=20))
resistorbank.add(gdstk.Label('VDD', (8.479,26.29), layer=15, texttype=20))
resistorbank.add(gdstk.Label('VDD', (8.479,30.9), layer=15, texttype=20))
resistorbank.add(gdstk.Label('VDD', (12.775,3.24), layer=15, texttype=20))
resistorbank.add(gdstk.Label('VDD', (12.775,7.85), layer=15, texttype=20))
resistorbank.add(gdstk.Label('VDD', (12.775,12.46), layer=15, texttype=20))
resistorbank.add(gdstk.Label('VDD', (12.775,17.07), layer=15, texttype=20))
resistorbank.add(gdstk.Label('VDD', (12.775,21.68), layer=15, texttype=20))
resistorbank.add(gdstk.Label('VDD', (12.775,26.29), layer=15, texttype=20))
resistorbank.add(gdstk.Label('VDD', (12.775,30.9), layer=15, texttype=20))
resistorbank.add(gdstk.Label('VSS', (-0.113,0.922), layer=15, texttype=20))
resistorbank.add(gdstk.Label('VSS', (-0.113,5.532), layer=15, texttype=20))
resistorbank.add(gdstk.Label('VSS', (-0.113,10.142), layer=15, texttype=20))
resistorbank.add(gdstk.Label('VSS', (-0.113,14.752), layer=15, texttype=20))
resistorbank.add(gdstk.Label('VSS', (-0.113,19.362), layer=15, texttype=20))
resistorbank.add(gdstk.Label('VSS', (-0.113,23.972), layer=15, texttype=20))
resistorbank.add(gdstk.Label('VSS', (-0.113,28.582), layer=15, texttype=20))
resistorbank.add(gdstk.Label('VSS', (4.183,0.922), layer=15, texttype=20))
resistorbank.add(gdstk.Label('VSS', (4.183,5.532), layer=15, texttype=20))
resistorbank.add(gdstk.Label('VSS', (4.183,10.142), layer=15, texttype=20))
resistorbank.add(gdstk.Label('VSS', (4.183,14.752), layer=15, texttype=20))
resistorbank.add(gdstk.Label('VSS', (4.183,19.362), layer=15, texttype=20))
resistorbank.add(gdstk.Label('VSS', (4.183,23.972), layer=15, texttype=20))
resistorbank.add(gdstk.Label('VSS', (4.183,28.582), layer=15, texttype=20))
resistorbank.add(gdstk.Label('VSS', (8.479,0.922), layer=15, texttype=20))
resistorbank.add(gdstk.Label('VSS', (8.479,5.532), layer=15, texttype=20))
resistorbank.add(gdstk.Label('VSS', (8.479,10.142), layer=15, texttype=20))
resistorbank.add(gdstk.Label('VSS', (8.479,14.752), layer=15, texttype=20))
resistorbank.add(gdstk.Label('VSS', (8.479,19.362), layer=15, texttype=20))
resistorbank.add(gdstk.Label('VSS', (8.479,23.972), layer=15, texttype=20))
resistorbank.add(gdstk.Label('VSS', (8.479,28.582), layer=15, texttype=20))
resistorbank.add(gdstk.Label('VSS', (12.775,0.922), layer=15, texttype=20))
resistorbank.add(gdstk.Label('VSS', (12.775,5.532), layer=15, texttype=20))
resistorbank.add(gdstk.Label('VSS', (12.775,10.142), layer=15, texttype=20))
resistorbank.add(gdstk.Label('VSS', (12.775,14.752), layer=15, texttype=20))
resistorbank.add(gdstk.Label('VSS', (12.775,19.362), layer=15, texttype=20))
resistorbank.add(gdstk.Label('VSS', (12.775,23.972), layer=15, texttype=20))
resistorbank.add(gdstk.Label('VSS', (12.775,28.582), layer=15, texttype=20))
resistorbank.add(gdstk.Label('VCM', (7.592,4.694), layer=46, texttype=20))
resistorbank.add(gdstk.Label('VCM', (7.592,10.072), layer=46, texttype=20))
resistorbank.add(gdstk.Label('VCM', (7.592,15.45), layer=46, texttype=20))
resistorbank.add(gdstk.Label('VCM', (7.592,20.828), layer=46, texttype=20))
resistorbank.add(gdstk.Label('VCM', (7.592,26.206), layer=46, texttype=20))

lib.write_gds('ResistorBank.gds')
